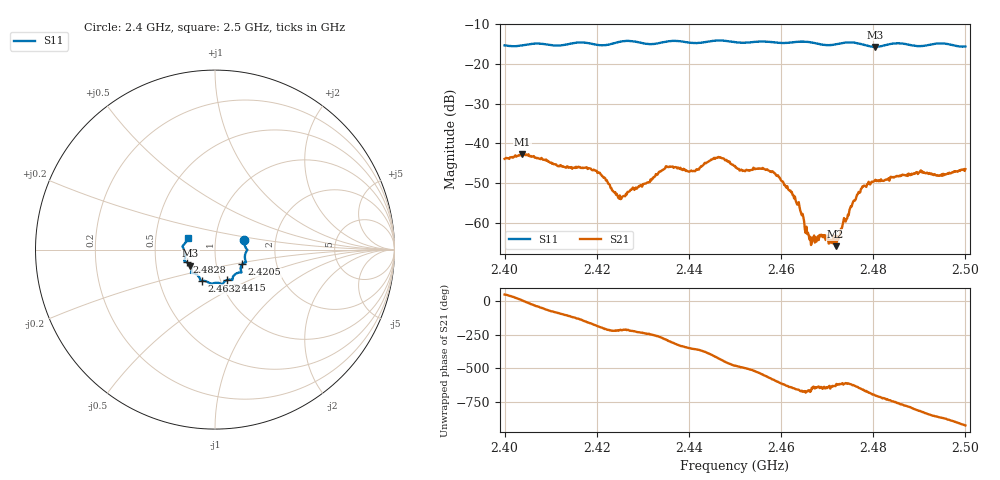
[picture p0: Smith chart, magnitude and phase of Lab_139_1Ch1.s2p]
# Hz S RI R 50
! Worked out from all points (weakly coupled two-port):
!   601 points, 2.4 GHz to 2.5 GHz, reference 50 ohm
!   highest |S21| = -42.62 dB at 2.4038 GHz (marker M1); lowest = -65.8 dB at 2.4718 GHz (marker M2)
!   lowest |S11| = -15.7 dB at 2.4803 GHz (marker M3), VSWR 1.39, Z = 37.4 - j6.84 ohm
!   |S11| at or under -10 dB: start of sweep to end of sweep
!   S12 and S22 are empty: the file has one direction only
!   S11 on the Smith chart (normalised r, x): 2.4 GHz: 1.38, +0.15; 2.4205 GHz: 1.34, -0.22; 2.4415 GHz: 1.07, -0.38; 2.4632 GHz: 0.82, -0.29; 2.4828 GHz: 0.72, -0.10; 2.5 GHz: 0.73, +0.10
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2.4e9  0.1634 0.0517  0.00426 0.00479  0 0  0 0
2.403833e9  0.1708 0.0115  0.00737 0.000556  0 0  0 0
2.416667e9  0.1727 -0.07  -0.00367 -0.00328  0 0  0 0
2.4205e9  0.1519 -0.0816  -0.00424 0.000757  0 0  0 0
2.425167e9  0.1463 -0.1227  -0.00169 0.00107  0 0  0 0
2.433333e9  0.1003 -0.1515  -0.000594 0.00419  0 0  0 0
2.4355e9  0.097 -0.1664  0.0022 0.00455  0 0  0 0
2.4415e9  0.0656 -0.1706  0.0046 0.000147  0 0  0 0
2.446333e9  0.0408 -0.1932  0.00293 -0.00609  0 0  0 0
2.45e9  0.0242 -0.1865  -0.00254 -0.00456  0 0  0 0
2.458333e9  -0.0337 -0.1845  -0.00312 0.00306  0 0  0 0
2.463167e9  -0.0731 -0.1741  0.000781 0.00175  0 0  0 0
2.464333e9  -0.0783 -0.1739  0.000844 0.00105  0 0  0 0
2.465667e9  -0.081 -0.1716  0.000476 0.000548  0 0  0 0
2.466667e9  -0.0823 -0.1672  0.000129 0.000552  0 0  0 0
2.469e9  -0.0912 -0.149  0.000246 0.000619  0 0  0 0
2.471833e9  -0.1172 -0.1315  1.35e-05 0.000511  0 0  0 0
2.477e9  -0.1319 -0.1226  0.000665 0.00231  0 0  0 0
2.480333e9  -0.1377 -0.0891  0.0032 0.00127  0 0  0 0
2.482833e9  -0.1588 -0.0701  0.00347 -0.000658  0 0  0 0
2.483333e9  -0.1626 -0.0681  0.00354 -0.000929  0 0  0 0
2.5e9  -0.1527 0.0643  -0.00439 0.00187  0 0  0 0
